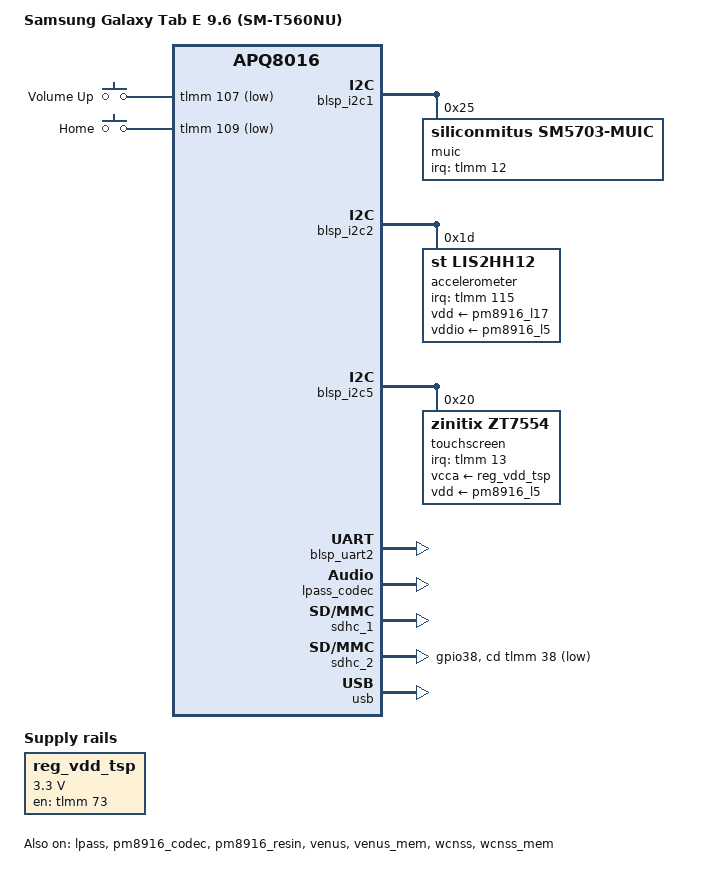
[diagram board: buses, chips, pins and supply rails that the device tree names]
// SPDX-License-Identifier: GPL-2.0-only

/dts-v1/;

#include "msm8916-pm8916.dtsi"
#include <dt-bindings/sound/apq8016-lpass.h>
#include <dt-bindings/gpio/gpio.h>

/ {
	model = "Samsung Galaxy Tab E 9.6 (SM-T560NU)";
	compatible = "samsung,gtelwifiue", "qcom,apq8016";
	chassis-type = "tablet";

	aliases {
		mmc0 = &sdhc_1; /* eMMC */
		mmc1 = &sdhc_2; /* SD card */
		serial0 = &blsp_uart2;
	};

	chosen {
		stdout-path = "serial0";
	};

	reserved-memory {
		/* Additional memory used by Samsung firmware modifications */
		tz-apps@85500000 {
			reg = <0x0 0x85500000 0x0 0xb00000>;
			no-map;
		};
	};

	gpio-keys {
		compatible = "gpio-keys";

		pinctrl-0 = <&gpio_keys_default>;
		pinctrl-names = "default";

		label = "GPIO Buttons";

		volume-up-button {
			label = "Volume Up";
			gpios = <&tlmm 107 GPIO_ACTIVE_LOW>;
			linux,code = <KEY_VOLUMEUP>;
		};

		home-button {
			label = "Home";
			gpios = <&tlmm 109 GPIO_ACTIVE_LOW>;
			linux,code = <KEY_HOMEPAGE>;
		};
	};

	reg_vdd_tsp: regulator-vdd-tsp {
		compatible = "regulator-fixed";
		regulator-name = "vdd_tsp";
		regulator-min-microvolt = <3300000>;
		regulator-max-microvolt = <3300000>;

		gpio = <&tlmm 73 GPIO_ACTIVE_HIGH>;
		enable-active-high;

		pinctrl-0 = <&reg_tsp_en_default>;
		pinctrl-names = "default";

		startup-delay-us = <150>;
	};
};

&blsp_i2c1 {
	status = "okay";

	muic: extcon@25 {
		compatible = "siliconmitus,sm5703-muic";
		reg = <0x25>;

		interrupt-parent = <&tlmm>;
		interrupts = <12 IRQ_TYPE_EDGE_FALLING>;

		pinctrl-0 = <&muic_int_default>;
		pinctrl-names = "default";
	};
};

&blsp_i2c2 {
	status = "okay";

	accelerometer@1d {
		compatible = "st,lis2hh12";
		reg = <0x1d>;

		vdd-supply = <&pm8916_l17>;
		vddio-supply = <&pm8916_l5>;

		interrupt-parent = <&tlmm>;
		interrupts = <115 IRQ_TYPE_LEVEL_HIGH>;
		interrupt-names = "INT1";

		st,drdy-int-pin = <1>;
		mount-matrix = "0", "1", "0",
				  "-1", "0", "0",
				   "0", "0", "1";

		pinctrl-0 = <&accel_int_default>;
		pinctrl-names = "default";
	};
};

&blsp_i2c5 {
	status = "okay";

	touchscreen@20 {
		compatible = "zinitix,zt7554", "zinitix,bt541";
		reg = <0x20>;
		interrupt-parent = <&tlmm>;
		interrupts = <13 IRQ_TYPE_EDGE_FALLING>;

		touchscreen-size-x = <800>;
		touchscreen-size-y = <1280>;
		linux,keycodes = <KEY_APPSELECT KEY_BACK>;

		vcca-supply = <&reg_vdd_tsp>;
		vdd-supply = <&pm8916_l5>;

		pinctrl-0 = <&tsp_int_default>;
		pinctrl-names = "default";
	};
};

&blsp_uart2 {
	status = "okay";
};

&lpass {
	status = "okay";
};

&lpass_codec {
	status = "okay";
};

&pm8916_codec {
	status = "okay";
};

&pm8916_resin {
	linux,code = <KEY_VOLUMEDOWN>;
	status = "okay";
};

&pm8916_rpm_regulators {
	pm8916_l17: l17 {
		regulator-min-microvolt = <2850000>;
		regulator-max-microvolt = <2850000>;
	};
};

&sdhc_1 {
	status = "okay";
};

&sdhc_2 {
	pinctrl-0 = <&sdc2_default &sdc2_cd_default>;
	pinctrl-1 = <&sdc2_sleep &sdc2_cd_default>;
	pinctrl-names = "default", "sleep";

	cd-gpios = <&tlmm 38 GPIO_ACTIVE_LOW>;

	status = "okay";
};

&sound {
	pinctrl-0 = <&cdc_pdm_default>;
	pinctrl-1 = <&cdc_pdm_sleep>;
	pinctrl-names = "default", "sleep";

	model = "msm8916";
	audio-routing =
		"AMIC1", "MIC BIAS Internal1",
		"AMIC2", "MIC BIAS Internal2";

	status = "okay";

	dai-link-primary {
		link-name = "Primary MI2S";

		cpu {
			sound-dai = <&lpass MI2S_PRIMARY>;
		};

		codec {
			sound-dai = <&lpass_codec 0>, <&pm8916_codec 0>;
		};
	};

	dai-link-tertiary {
		link-name = "Tertiary MI2S";

		cpu {
			sound-dai = <&lpass MI2S_TERTIARY>;
		};

		codec {
			sound-dai = <&lpass_codec 1>, <&pm8916_codec 1>;
		};
	};
};

&usb {
	extcon = <&muic>, <&muic>;
	status = "okay";
};

&usb_hs_phy {
	extcon = <&muic>;
};

&venus {
	status = "okay";
};

&venus_mem {
	status = "okay";
};

&wcnss {
	status = "okay";
};

&wcnss_iris {
	compatible = "qcom,wcn3660b";
};

&wcnss_mem {
	status = "okay";
};

&tlmm {
	accel_int_default: accel-int-default-state {
		pins = "gpio115";
		function = "gpio";
		drive-strength = <2>;
		bias-disable;
	};

	gpio_keys_default: gpio-keys-default-state {
		pins = "gpio107", "gpio109";
		function = "gpio";
		drive-strength = <2>;
		bias-pull-up;
	};

	muic_int_default: muic-int-default-state {
		pins = "gpio12";
		function = "gpio";
		drive-strength = <2>;
		bias-disable;
	};

	reg_tsp_en_default: reg-tsp-en-default-state {
		pins = "gpio73";
		function = "gpio";
		drive-strength = <2>;
		bias-disable;
	};

	sdc2_cd_default: sdc2-cd-default-state {
		pins = "gpio38";
		function = "gpio";
		drive-strength = <2>;
		bias-disable;
	};

	tsp_int_default: tsp-int-default-state {
		pins = "gpio13";
		function = "gpio";
		drive-strength = <2>;
		bias-disable;
	};
};
